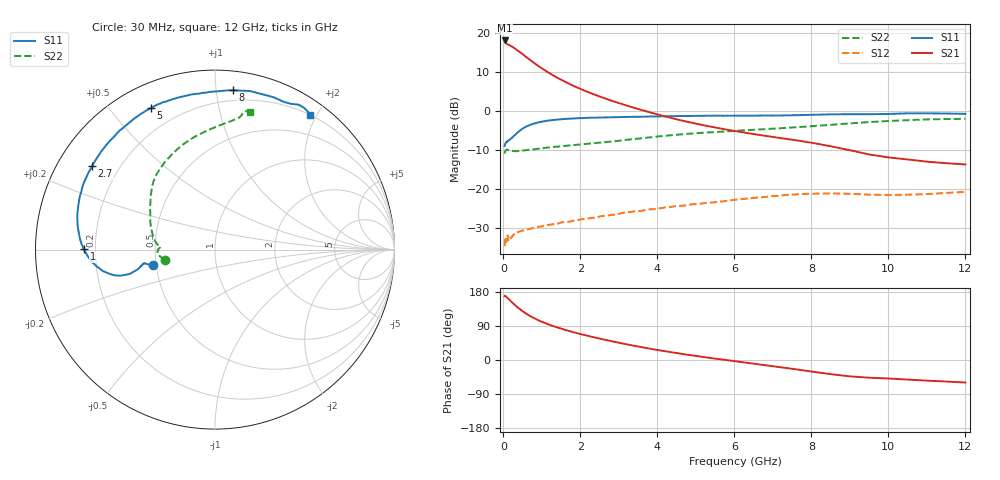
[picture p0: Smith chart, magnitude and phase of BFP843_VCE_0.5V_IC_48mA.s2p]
! (c) 2013  Infineon Technologies AG, Munich
! Infineon Technologies  Discrete & RF Semiconductors
! BFP843
! VCE =  0.5 V,  IC =  48 mA
! Common Emitter S-Parameters:  Aug 2013
# GHz  S  MA  R  50
!  f  S11  S21  S12  S22
! GHz  MAG  ANG  MAG  ANG  MAG  ANG  MAG  ANG
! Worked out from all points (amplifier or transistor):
!   103 points, 30 MHz to 12 GHz, reference 50 ohm
!   highest |S21| = 18.0 dB at 30 MHz (marker M1)
!   |S21| within 3 dB of that: start of sweep to 428.1 MHz
!   unconditionally stable (mu >= 1): start of sweep to end of sweep
!   at 400 MHz: K = 2.14, MAG = 17.0 dB, |S12| = -30.9 dB
!   at 3.7 GHz: K = 2.39, MAG = 6.0 dB, |S12| = -25.3 dB
!   at 12 GHz: K = 2.09, MAG = -2.4 dB, |S12| = -20.7 dB
!   S11 on the Smith chart (normalised r, x): 30 MHz: 0.48, -0.09; 1 GHz: 0.16, +0.00; 2.7 GHz: 0.10, +0.30; 5 GHz: 0.10, +0.64; 8 GHz: 0.13, +1.11; 12 GHz: 0.20, +1.91
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0.03  0.357 -166.4  7.967 168.9  0.0187 21.5  0.2856 -168.8
0.04  0.3751 -167.4  7.686 168.1  0.0216 17.4  0.3006 -171.1
0.05  0.3817 -167.6  7.542 168.7  0.0245 34.3  0.3059 -172.4
0.07  0.397 -169.1  7.291 167.2  0.0211 9.4  0.317 -175.4
0.25  0.4691 -164.8  6.527 149.5  0.0257 16.1  0.3083 178.2
0.35  0.5212 -164.3  6.018 140.4  0.0282 18.3  0.3062 177.1
0.45  0.572 -165.4  5.543 132.4  0.0292 15.7  0.3101 177.4
0.6  0.6353 -169.1  4.858 121.7  0.0304 16.6  0.3161 176.1
0.7  0.6659 -172.0  4.458 115.5  0.0313 17.6  0.3207 175.4
0.9  0.7132 -177.5  3.779 105.2  0.0332 19.0  0.3289 173.6
1  0.73 179.9  3.5 100.8  0.0334 18.1  0.3336 172.6
1.4  0.7763 170.3  2.662 85.9  0.0362 20.1  0.35 168.4
1.7  0.7959 163.9  2.234 76.7  0.0383 21.0  0.3619 165.2
2.1  0.8125 156.2  1.823 66.0  0.0419 22.2  0.3772 160.8
2.7  0.8276 145.8  1.412 52.0  0.0459 22.1  0.4017 153.7
4.1  0.8527 124.5  0.877 24.8  0.0573 18.1  0.4766 138.2
5  0.8664 114.4  0.689 10.8  0.0645 14.3  0.519 130.5
6.1  0.8706 104.8  0.545 -4.4  0.0739 8.8  0.5605 120.2
8  0.8928 83.7  0.393 -30.4  0.0877 -7.0  0.6388 100.2
8.5  0.9048 77.6  0.354 -37.4  0.0882 -12.2  0.6647 93.8
10.5  0.9324 60.0  0.24 -51.6  0.0852 -22.0  0.7627 78.8
12  0.919 54.9  0.207 -59.5  0.0923 -28.3  0.7925 75.7
